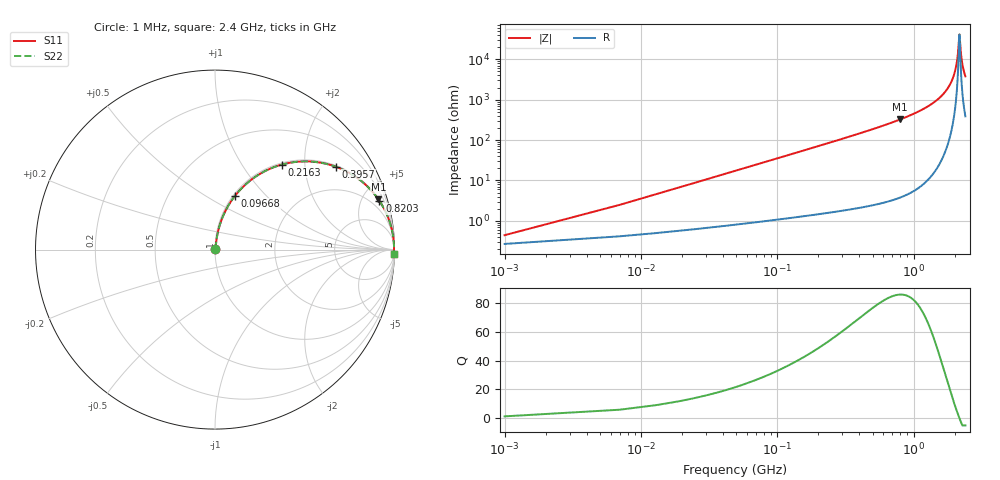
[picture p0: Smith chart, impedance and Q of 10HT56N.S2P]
! Coilcraft 1008HT-56N Chip Inductor
! 16 July 2002
# MHZ S MA R 50
!Freq  MagS11  AngS11  MagS21  AngS21  MagS12  AngS12  MagS22  AngS22
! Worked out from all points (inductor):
!   403 points, 1 MHz to 2.4 GHz, reference 50 ohm
!   read as one part in series: L = 56 nH near 12.96 MHz
!   highest Q = 85.8 at 796.3 MHz (marker M1), where L = 64.7 nH
!   self-resonance near 2.166 GHz
!   S11 on the Smith chart (normalised r, x): 1 MHz: 1.01, +0.01; 96.68 MHz: 1.02, +0.68; 216.3 MHz: 1.03, +1.54; 395.7 MHz: 1.04, +2.88; 820.3 MHz: 1.08, +6.73; 2.4 GHz: 9, -75
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1  0.004417 52.4  0.9973 -0.2  0.9973 -0.2  0.004417 52.4
18.94  0.06637 81.3  0.9922 -3.8  0.9922 -3.8  0.06637 81.3
30.9  0.1076 80.3  0.9876 -6.2  0.9876 -6.2  0.1076 80.3
54.82  0.1882 76.7  0.974 -10.8  0.974 -10.8  0.1882 76.7
96.68  0.3197 69.6  0.9376 -18.6  0.9376 -18.6  0.3197 69.6
216.28  0.6038 51.7  0.7854 -37.1  0.7854 -37.1  0.6038 51.7
395.68  0.8159 34.5  0.5665 -54.7  0.5665 -54.7  0.8159 34.5
401.66  0.8202 34.1  0.5604 -55.1  0.5604 -55.1  0.8202 34.1
796.34  0.9523 17.1  0.2941 -72.2  0.2941 -72.2  0.9523 17.1
802.32  0.9532 16.9  0.2915 -72.4  0.2915 -72.4  0.9532 16.9
820.26  0.9556 16.5  0.2838 -72.8  0.2838 -72.8  0.9556 16.5
1202.98  0.9847 9.3  0.1612 -79.9  0.1612 -79.9  0.9847 9.3
1603.64  0.9947 4.6  0.0801 -83.9  0.0801 -83.9  0.9947 4.6
1842.84  0.9969 2.5  0.04299 -84.7  0.04299 -84.7  0.9969 2.5
2004.3  0.9975 1.2  0.02098 -82.6  0.02098 -82.6  0.9975 1.2
2094  0.9976 0.5  0.009696 -75.5  0.009696 -75.5  0.9976 0.5
2159.78  0.9976 0.1  0.00275 -28.9  0.00275 -28.9  0.9976 0.1
2171.74  0.9976 -0.0  0.002422 2.6  0.002422 2.6  0.9976 -0.0
2225.56  0.9975 -0.4  0.006962 68.8  0.006962 68.8  0.9975 -0.4
2261.44  0.9974 -0.6  0.01098 76.1  0.01098 76.1  0.9974 -0.6
2321.24  0.9973 -1.0  0.0177 80.6  0.0177 80.6  0.9973 -1.0
2400  0.997 -1.5  0.02638 82.6  0.02638 82.6  0.997 -1.5
